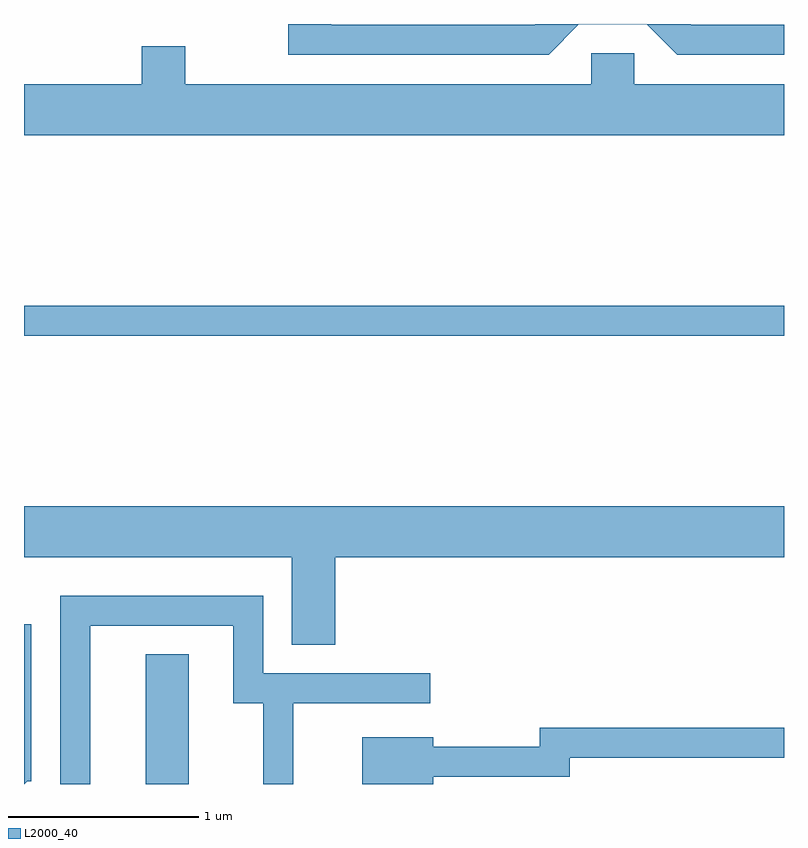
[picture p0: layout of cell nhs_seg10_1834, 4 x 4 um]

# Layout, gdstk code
import gdstk
lib = gdstk.Library(unit=1e-6, precision=1e-09)
def R(c, l, rs):  # rectangles x0, y0, x1, y1
    for r in rs: c.add(gdstk.rectangle(r[:2], r[2:], *l))
def P(c, l, *ps):  # polygons
    for p in ps: c.add(gdstk.Polygon(p, *l))
L2000_40 = (2000, 40)

nhs_seg10_1834 = lib.new_cell('nhs_seg10_1834')
R(nhs_seg10_1834, L2000_40, [(240.251,2090.522,240.479,2091.204), (239.611,2092.881,243.611,2093.039)])
P(nhs_seg10_1834, L2000_40, [(242.532,2094.521),(242.889,2094.521),(243.049,2094.361),(243.611,2094.361),(243.611,2094.519),(243.122,2094.519),(243.119,2094.522),(242.302,2094.522),(242.299,2094.519),(241.229,2094.519),(241.229,2094.522),(241.001,2094.522),(241.001,2094.361),(242.372,2094.361)],
  [(243.611,2094.204),(242.824,2094.204),(242.824,2094.369),(242.596,2094.369),(242.596,2094.204),(240.459,2094.204),(240.459,2094.404),(240.231,2094.404),(240.231,2094.204),(239.611,2094.204),(239.611,2093.936),(243.611,2093.936)],
  [(241.249,2091.716),(243.611,2091.716),(243.611,2091.984),(239.611,2091.984),(239.611,2091.716),(241.021,2091.716),(241.021,2091.256),(241.249,2091.256)],
  [(239.959,2091.356),(240.711,2091.356),(240.711,2090.946),(240.871,2090.946),(240.871,2090.522),(241.029,2090.522),(241.029,2090.946),(241.748,2090.946),(241.748,2091.104),(240.869,2091.104),(240.869,2091.514),(239.801,2091.514),(239.801,2090.522),(239.959,2090.522)],
  [(239.627,2090.536),(239.649,2090.536),(239.649,2091.364),(239.611,2091.364),(239.611,2090.522),(239.613,2090.522)],
  [(241.764,2090.561),(242.484,2090.561),(242.484,2090.661),(243.611,2090.661),(243.611,2090.819),(242.326,2090.819),(242.326,2090.719),(241.764,2090.719),(241.764,2090.769),(241.391,2090.769),(241.391,2090.522),(241.764,2090.522)])

lib.write_gds('nhs_seg10_1834.gds')
